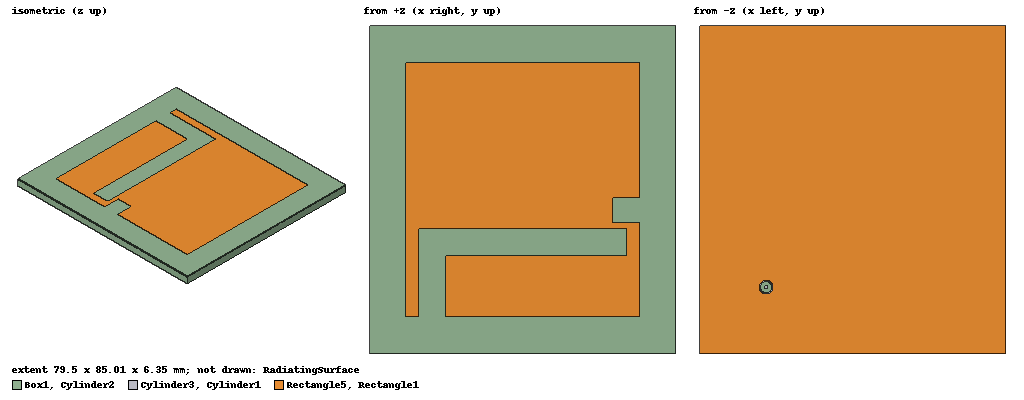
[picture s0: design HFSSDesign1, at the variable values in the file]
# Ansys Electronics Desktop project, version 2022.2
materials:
  vacuum: permittivity=1
  Rogers RT/duroid 5880 (tm): permittivity=2.2 dielectric_loss_tangent=0.0009
  pec: conductivity=1e+30
  Teflon (tm): permittivity=2.1 dielectric_loss_tangent=0.001

design HFSSDesign1 (HFSS, DrivenModal, model units mm)
options: Allow_Material_Override
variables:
  h = 3.175mm
  W = 65.96mm
  L = 60.45mm
  Wr = 6.45mm
  Wu = 7.04mm
  Lr = 6.82mm
  Pr = -5.21mm
  Lh = 54.1mm
  Lv = 22.85mm
  fx = 22.43mm
  fy = 7.69mm
  Wg = W+6*h
  Lg = L+6*h
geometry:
  Box1 [Rogers RT/duroid 5880 (tm)] = box(corner=(-Lg/2, -Wg/2, 0mm), size=(Lg, Wg, -h))
  Rectangle1 = rectangle(corner=(-L/2, -W/2, 0mm), x_size=L, y_size=W)
  Rectangle2 = rectangle(corner=(-Lh/2, -W/2+Lv-Wu, 0mm), x_size=Lh, y_size=Wu)
  Rectangle3 = rectangle(corner=(-Lh/2, -W/2, 0mm), x_size=Wu, y_size=Lv)
  Rectangle3.unite(Rectangle2)
  Rectangle1.subtract(Rectangle3)
  Rectangle4 = rectangle(corner=(L/2, Pr-Wr/2, 0mm), x_size=-Lr, y_size=Wr)
  Rectangle1.subtract(Rectangle4)
  Cylinder1 [pec] = cylinder(axis=Z, base_centre=(fx, -W/2+fy, 0mm), radius=(0.91/2) mm, height=-2*h)
  Cylinder2 [Teflon (tm)] = cylinder(axis=Z, base_centre=(fx, -W/2+fy, -h), radius=(2.97/2) mm, height=-h)
  Cylinder1_1 = Cylinder1.copy()
  Cylinder2.subtract(Cylinder1_1)
  Cylinder3 [pec] = cylinder(axis=Z, base_centre=(fx, -W/2+fy, -h), radius=(3.58/2) mm, height=-h)
  Cylinder2_1 = Cylinder2.copy()
  Cylinder3.subtract(Cylinder2_1)
  Rectangle5 = rectangle(corner=(-Lg/2, -Wg/2, -h), x_size=Lg, y_size=Wg)
  Cylinder1_2 = Cylinder1.copy()
  Cylinder2_2 = Cylinder2.copy()
  Cylinder3_1 = Cylinder3.copy()
  Box1.subtract(Cylinder1_2, Cylinder2_2, Cylinder3_1)
  Cylinder1_3 = Cylinder1.copy()
  Cylinder2_3 = Cylinder2.copy()
  Cylinder3_2 = Cylinder3.copy()
  Rectangle5.subtract(Cylinder1_3, Cylinder2_3, Cylinder3_2)
  RadiatingSurface [vacuum] = region(absolute_offset=33.333333mm on all sides)
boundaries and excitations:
  PerfE1: Perfect E Objects=[Rectangle5, Rectangle1]
  Open1: Radiation Objects=RadiatingSurface
  1: Lumped Port Faces=Cylinder2.face(2 of 3) Modes{Mode1{IntLine{(22.885, -25.29, -6.35) -> (23.915, -25.29, -6.35)} CharImp=Zpi RenormImp=50ohm}} Impedance=50ohm
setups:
  Setup1: HfssDriven MultipleAdaptiveFreqsSetup{AdaptAt{Frequency=1.9GHz Delta=0.02} AdaptAt{Frequency=2.4GHz Delta=0.02}} MaximumPasses=19 MinimumPasses=1 MinimumConvergedPasses=2 PercentRefinement=30 BasisOrder=1 PortAccuracy=2 DrivenSolverType="Direct Solver"
    sweep Sweep: 1.5GHz to 3GHz, 401 points; disabled Type=Fast SaveFields SaveRadFields
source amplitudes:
  1:1: 1W 0deg
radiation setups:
  3D: Infinite Sphere Theta=0deg..180deg step 2deg Phi=-180deg..180deg step 2deg
  Elevation: Infinite Sphere Theta=-180deg..180deg step 1deg Phi=0deg..90deg step 90deg
  Azimuth: Infinite Sphere Theta=90deg..90deg step 0deg Phi=-180deg..180deg step 1deg
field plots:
  Mesh1: MeshPlots over Rectangle1.face(at (0, 0, 0)) on Setup1 : LastAdaptive at Freq=1.9GHz Phase=0deg
